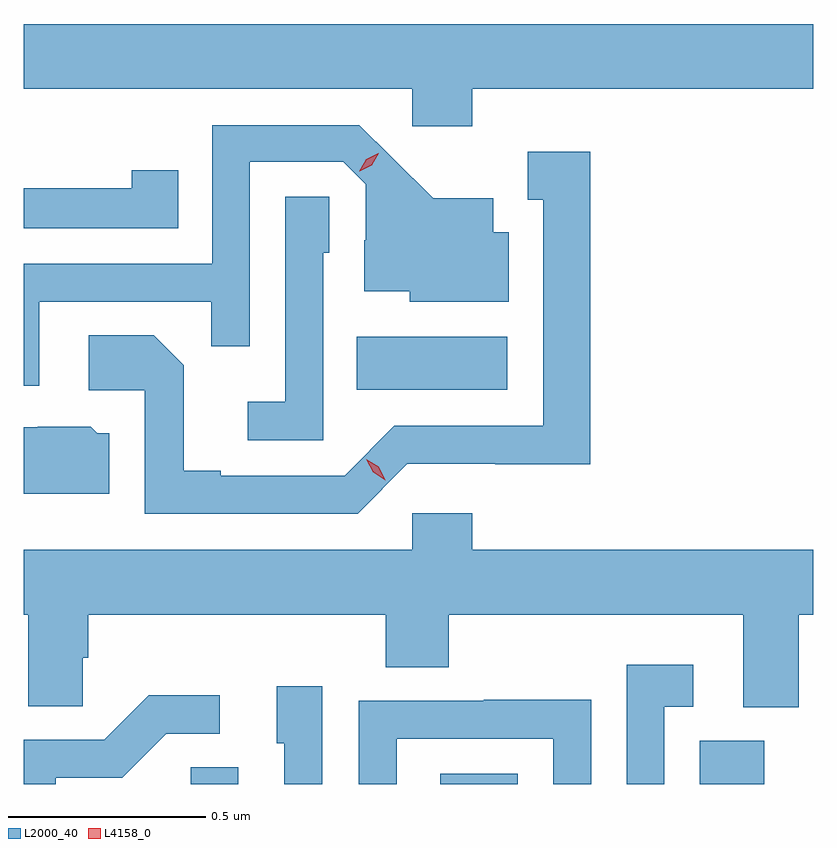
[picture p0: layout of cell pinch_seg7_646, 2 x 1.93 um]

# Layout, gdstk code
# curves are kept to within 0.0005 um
import gdstk
lib = gdstk.Library(unit=1e-6, precision=1e-09)
def R(c, l, rs):  # rectangles x0, y0, x1, y1
    for r in rs: c.add(gdstk.rectangle(r[:2], r[2:], *l))
def P(c, l, *ps):  # polygons
    for p in ps: c.add(gdstk.Polygon(p, *l))
L2000_40 = (2000, 40)
L4158_0 = (4158, 0)

pinch_seg7_646 = lib.new_cell('pinch_seg7_646')
R(pinch_seg7_646, L2000_40, [(169.581,1026.827,169.702,1026.869), (170.213,1026.827,170.41,1026.853), (170.87,1026.827,171.034,1026.936), (170.002,1027.826,170.383,1027.96)])
P(pinch_seg7_646, L2000_40, [(170.294,1028.588),(171.158,1028.588),(171.158,1028.752),(169.158,1028.752),(169.158,1028.588),(170.142,1028.588),(170.142,1028.493),(170.294,1028.493)],
  [(169.197,1028.049),(169.633,1028.049),(169.633,1027.936),(169.731,1027.936),(169.731,1028.403),(169.968,1028.403),(170.025,1028.346),(170.025,1028.204),(170.021,1028.204),(170.021,1028.075),(170.136,1028.075),(170.136,1028.048),(170.386,1028.048),(170.386,1028.224),(170.347,1028.224),(170.347,1028.311),(170.195,1028.311),(170.008,1028.496),(169.635,1028.496),(169.635,1028.145),(169.158,1028.145),(169.158,1027.836),(169.197,1027.836)],
  [(170.13,1027.638),(170.352,1027.638),(170.352,1027.637),(170.593,1027.637),(170.593,1028.428),(170.435,1028.428),(170.435,1028.307),(170.474,1028.307),(170.474,1027.734),(170.097,1027.734),(169.971,1027.608),(169.657,1027.608),(169.657,1027.621),(169.563,1027.621),(169.563,1027.888),(169.487,1027.964),(169.323,1027.964),(169.323,1027.824),(169.464,1027.824),(169.464,1027.512),(170.004,1027.512)],
  [(169.55,1028.382),(169.432,1028.382),(169.432,1028.336),(169.158,1028.336),(169.158,1028.235),(169.55,1028.235)],
  [(169.917,1028.172),(169.932,1028.172),(169.932,1028.315),(169.821,1028.315),(169.821,1027.795),(169.725,1027.795),(169.725,1027.698),(169.917,1027.698)],
  [(169.375,1027.716),(169.344,1027.716),(169.328,1027.732),(169.194,1027.732),(169.194,1027.731),(169.158,1027.731),(169.158,1027.562),(169.375,1027.562)],
  [(171.121,1027.256),(171.158,1027.256),(171.158,1027.42),(170.294,1027.42),(170.294,1027.513),(170.142,1027.513),(170.142,1027.42),(169.158,1027.42),(169.158,1027.256),(169.169,1027.256),(169.169,1027.024),(169.308,1027.024),(169.308,1027.147),(169.322,1027.147),(169.322,1027.256),(170.075,1027.256),(170.075,1027.123),(170.235,1027.123),(170.235,1027.256),(170.981,1027.256),(170.981,1027.021),(171.121,1027.021)],
  [(170.781,1027.023),(170.854,1027.023),(170.854,1027.129),(170.685,1027.129),(170.685,1026.827),(170.781,1026.827)],
  [(169.914,1027.075),(169.799,1027.075),(169.799,1026.93),(169.818,1026.93),(169.818,1026.827),(169.914,1026.827)],
  [(169.239,1026.843),(169.408,1026.843),(169.519,1026.954),(169.654,1026.954),(169.654,1027.052),(169.475,1027.052),(169.362,1026.939),(169.158,1026.939),(169.158,1026.827),(169.239,1026.827)],
  [(170.103,1026.942),(170.499,1026.942),(170.499,1026.827),(170.595,1026.827),(170.595,1027.04),(170.323,1027.04),(170.323,1027.038),(170.007,1027.038),(170.007,1026.827),(170.103,1026.827)])
P(pinch_seg7_646, L4158_0, [(170.008,1028.379),(170.008,1028.379),(170.026,1028.409),(170.056,1028.424),(170.057,1028.424),(170.057,1028.424),(170.039,1028.394),(170.009,1028.379)],
  [(170.074,1027.597),(170.043,1027.616),(170.026,1027.649),(170.026,1027.649),(170.026,1027.649),(170.057,1027.63),(170.074,1027.597),(170.074,1027.597)])

lib.write_gds('pinch_seg7_646.gds')
